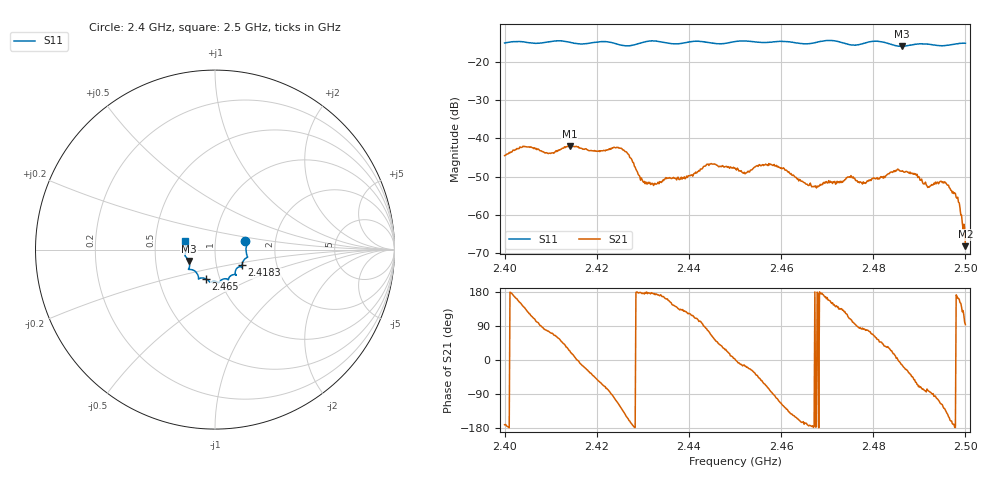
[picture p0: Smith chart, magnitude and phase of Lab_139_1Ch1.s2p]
# Hz S RI R 50
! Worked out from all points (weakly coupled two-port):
!   601 points, 2.4 GHz to 2.5 GHz, reference 50 ohm
!   highest |S21| = -42.01 dB at 2.4142 GHz (marker M1); lowest = -68.2 dB at 2.5 GHz (marker M2)
!   lowest |S11| = -16.0 dB at 2.4862 GHz (marker M3), VSWR 1.38, Z = 37.1 - j4.82 ohm
!   |S11| at or under -10 dB: start of sweep to end of sweep
!   S12 and S22 are empty: the file has one direction only
!   S11 on the Smith chart (normalised r, x): 2.4 GHz: 1.40, +0.13; 2.4183 GHz: 1.33, -0.24; 2.465 GHz: 0.86, -0.29; 2.5 GHz: 0.71, +0.07
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2.4e9  0.1688 0.0458  -0.00585 -0.000945  0 0  0 0
2.403833e9  0.1791 0.028  -0.00622 0.00449  0 0  0 0
2.409833e9  0.1787 -0.0339  0.00188 0.00609  0 0  0 0
2.414167e9  0.1717 -0.0478  0.00724 0.00324  0 0  0 0
2.416667e9  0.1551 -0.0684  0.00723 -0.00154  0 0  0 0
2.418333e9  0.1499 -0.0871  0.00589 -0.00352  0 0  0 0
2.425e9  0.134 -0.0964  -0.00387 -0.00636  0 0  0 0
2.427e9  0.1183 -0.1087  -0.00568 -0.00208  0 0  0 0
2.43e9  0.114 -0.1367  -0.00273 0.000169  0 0  0 0
2.433333e9  0.117 -0.1414  -0.00264 0.000363  0 0  0 0
2.444333e9  0.0665 -0.1637  0.00117 0.00425  0 0  0 0
2.45e9  0.0252 -0.1807  0.00408 0.000158  0 0  0 0
2.452167e9  0.0208 -0.1845  0.00329 -0.000967  0 0  0 0
2.458167e9  -0.019 -0.1792  8.78e-05 -0.00442  0 0  0 0
2.465e9  -0.0527 -0.1621  -0.00259 -0.000481  0 0  0 0
2.466667e9  -0.0713 -0.1576  -0.00231 -0.000191  0 0  0 0
2.483333e9  -0.1423 -0.0959  0.00293 0.00183  0 0  0 0
2.486167e9  -0.1448 -0.0634  0.00362 -0.000764  0 0  0 0
2.492e9  -0.1661 -0.0278  0.00033 -0.00231  0 0  0 0
2.496e9  -0.1615 0.0163  -0.00191 -0.00156  0 0  0 0
2.498333e9  -0.1673 0.0381  -0.00162 0.000501  0 0  0 0
2.5e9  -0.1669 0.0472  -2.27e-05 0.000389  0 0  0 0
